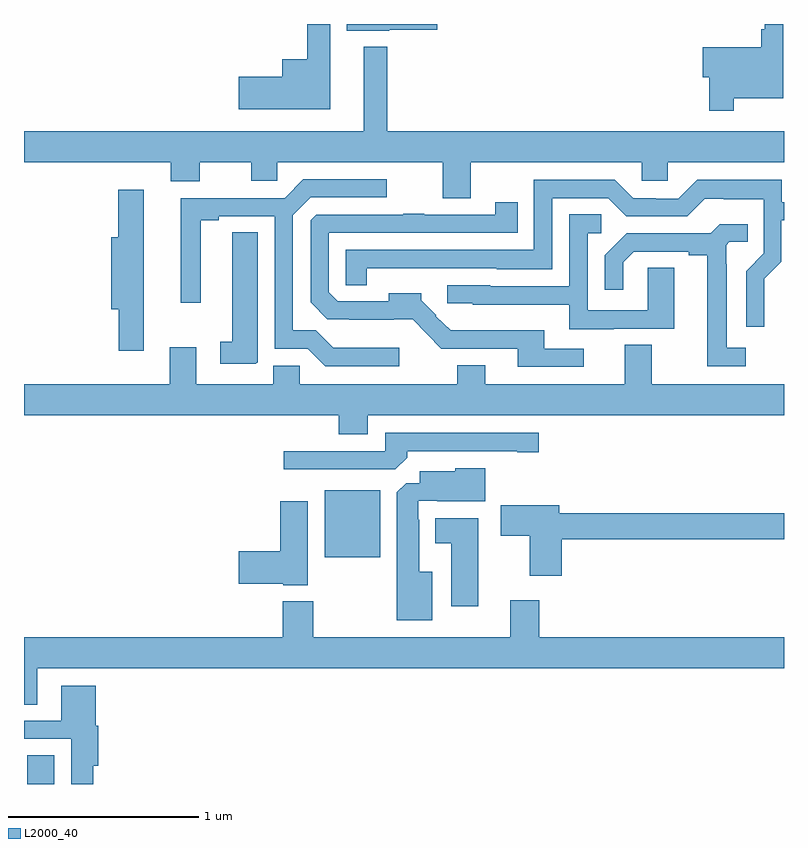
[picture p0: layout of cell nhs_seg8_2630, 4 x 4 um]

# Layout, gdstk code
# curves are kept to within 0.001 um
import gdstk
lib = gdstk.Library(unit=1e-6, precision=1e-09)
def R(c, l, rs):  # rectangles x0, y0, x1, y1
    for r in rs: c.add(gdstk.rectangle(r[:2], r[2:], *l))
def P(c, l, *ps):  # polygons
    for p in ps: c.add(gdstk.Polygon(p, *l))
L2000_40 = (2000, 40)

nhs_seg8_2630 = lib.new_cell('nhs_seg8_2630')
R(nhs_seg8_2630, L2000_40, [(277.016,1107.9,277.159,1108.052), (278.582,1109.093,278.875,1109.446)])
P(nhs_seg8_2630, L2000_40, [(278.922,1111.871),(279.175,1111.871),(279.175,1111.9),(278.699,1111.9),(278.699,1111.865),(278.922,1111.865)],
  [(280.735,1111.508),(280.996,1111.508),(280.996,1111.9),(280.899,1111.9),(280.899,1111.873),(280.879,1111.873),(280.879,1111.777),(280.572,1111.777),(280.572,1111.619),(280.606,1111.619),(280.606,1111.443),(280.735,1111.443)],
  [(278.611,1111.9),(278.49,1111.9),(278.49,1111.714),(278.36,1111.714),(278.36,1111.622),(278.13,1111.622),(278.13,1111.451),(278.611,1111.451)],
  [(279.351,1111.172),(280.251,1111.172),(280.251,1111.074),(280.389,1111.074),(280.389,1111.172),(281,1111.172),(281,1111.336),(278.911,1111.336),(278.911,1111.78),(278.789,1111.78),(278.789,1111.336),(277,1111.336),(277,1111.172),(277.772,1111.172),(277.772,1111.073),(277.924,1111.073),(277.924,1111.172),(278.195,1111.172),(278.195,1111.074),(278.334,1111.074),(278.334,1111.172),(279.203,1111.172),(279.203,1110.982),(279.351,1110.982)],
  [(278.974,1110.196),(278.627,1110.196),(278.536,1110.287),(278.415,1110.287),(278.415,1110.894),(278.508,1110.987),(278.908,1110.987),(278.908,1111.083),(278.471,1111.083),(278.372,1110.984),(277.826,1110.984),(277.826,1110.432),(277.93,1110.432),(277.93,1110.868),(278.026,1110.868),(278.026,1110.888),(278.319,1110.888),(278.319,1110.192),(278.493,1110.192),(278.586,1110.099),(278.974,1110.099)],
  [(280.896,1110.452),(280.895,1110.558),(280.986,1110.65),(280.986,1110.866),(281,1110.866),(281,1110.963),(280.987,1110.963),(280.987,1111.081),(280.543,1111.081),(280.443,1110.981),(280.326,1110.981),(280.326,1110.984),(280.206,1110.984),(280.11,1111.08),(279.684,1111.08),(279.684,1110.711),(278.694,1110.711),(278.694,1110.526),(278.803,1110.526),(278.803,1110.614),(279.489,1110.615),(279.489,1110.608),(279.78,1110.608),(279.78,1110.984),(280.074,1110.984),(280.17,1110.888),(280.491,1110.888),(280.584,1110.981),(280.684,1110.981),(280.684,1110.977),(280.893,1110.977),(280.893,1110.693),(280.8,1110.6),(280.8,1110.306),(280.896,1110.306)],
  [(277.63,1111.027),(277.496,1111.027),(277.496,1110.778),(277.46,1110.778),(277.46,1110.398),(277.499,1110.398),(277.499,1110.18),(277.63,1110.18)],
  [(279.946,1110.192),(279.739,1110.192),(279.739,1110.289),(279.346,1110.289),(279.346,1110.287),(279.245,1110.287),(279.168,1110.363),(279.171,1110.366),(279.092,1110.445),(279.092,1110.484),(278.921,1110.484),(278.921,1110.441),(278.652,1110.441),(278.604,1110.489),(278.604,1110.801),(279.599,1110.801),(279.599,1110.961),(279.481,1110.961),(279.481,1110.897),(279.107,1110.897),(279.107,1110.902),(278.995,1110.902),(278.995,1110.897),(278.538,1110.897),(278.508,1110.867),(278.508,1110.435),(278.597,1110.346),(278.713,1110.346),(278.713,1110.344),(279.047,1110.345),(279.121,1110.271),(279.119,1110.269),(279.195,1110.192),(279.599,1110.192),(279.599,1110.096),(279.946,1110.096)],
  [(280.105,1110.297),(280.423,1110.297),(280.423,1110.617),(280.284,1110.617),(280.284,1110.393),(279.966,1110.393),(279.966,1110.798),(280.039,1110.798),(280.039,1110.899),(279.87,1110.899),(279.87,1110.519),(279.453,1110.519),(279.453,1110.525),(279.228,1110.525),(279.228,1110.429),(279.363,1110.429),(279.363,1110.422),(279.869,1110.422),(279.869,1110.293),(280.105,1110.293)],
  [(280.798,1110.195),(280.699,1110.195),(280.699,1110.635),(280.695,1110.635),(280.695,1110.735),(280.713,1110.753),(280.808,1110.753),(280.808,1110.845),(280.662,1110.845),(280.614,1110.798),(280.172,1110.798),(280.056,1110.682),(280.056,1110.501),(280.153,1110.501),(280.153,1110.645),(280.21,1110.702),(280.499,1110.702),(280.499,1110.682),(280.595,1110.682),(280.595,1110.099),(280.798,1110.099)],
  [(278.23,1110.121),(278.23,1110.803),(278.096,1110.803),(278.096,1110.227),(278.034,1110.227),(278.034,1110.111),(278.22,1110.111)],
  [(278.809,1109.84),(281,1109.84),(281,1110.004),(280.303,1110.004),(280.303,1110.212),(280.163,1110.212),(280.163,1110.004),(279.427,1110.004),(279.427,1110.103),(279.28,1110.103),(279.28,1110.004),(278.451,1110.004),(278.451,1110.102),(278.312,1110.102),(278.312,1110.004),(277.906,1110.004),(277.906,1110.199),(277.766,1110.199),(277.766,1110.004),(277,1110.004),(277,1109.84),(278.657,1109.84),(278.657,1109.741),(278.809,1109.741)],
  [(279.017,1109.618),(279.017,1109.652),(279.596,1109.652),(279.596,1109.647),(279.709,1109.647),(279.709,1109.748),(278.901,1109.748),(278.901,1109.652),(278.367,1109.652),(278.367,1109.556),(278.955,1109.556)],
  [(279.148,1109.017),(279.079,1109.017),(279.079,1109.291),(279.075,1109.291),(279.075,1109.391),(279.175,1109.391),(279.175,1109.387),(279.427,1109.387),(279.427,1109.563),(279.27,1109.563),(279.27,1109.545),(279.083,1109.545),(279.083,1109.484),(279.012,1109.484),(278.963,1109.435),(278.963,1108.763),(279.148,1108.763)],
  [(278.494,1109.389),(278.348,1109.389),(278.348,1109.126),(278.13,1109.126),(278.13,1108.955),(278.364,1108.955),(278.364,1108.946),(278.494,1108.946)],
  [(279.83,1109.188),(281,1109.188),(281,1109.324),(279.817,1109.324),(279.817,1109.368),(279.51,1109.368),(279.51,1109.206),(279.662,1109.206),(279.662,1108.995),(279.83,1108.995)],
  [(279.391,1109.299),(279.164,1109.299),(279.164,1109.168),(279.248,1109.168),(279.248,1108.836),(279.391,1108.836)],
  [(277.069,1108.508),(281,1108.508),(281,1108.672),(279.713,1108.672),(279.713,1108.867),(279.56,1108.867),(279.56,1108.672),(278.523,1108.672),(278.523,1108.861),(278.363,1108.861),(278.363,1108.672),(277,1108.672),(277,1108.318),(277.069,1108.318)],
  [(277.364,1107.995),(277.391,1107.995),(277.391,1108.206),(277.378,1108.206),(277.378,1108.417),(277.196,1108.417),(277.196,1108.233),(277,1108.233),(277,1108.137),(277.248,1108.137),(277.248,1107.9),(277.364,1107.9)])

lib.write_gds('nhs_seg8_2630.gds')
